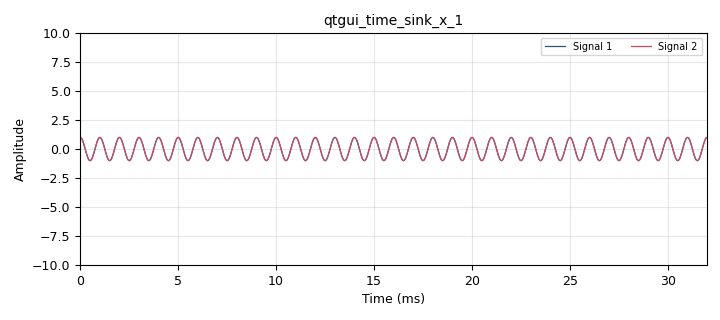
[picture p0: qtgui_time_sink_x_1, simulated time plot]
options:
  parameters:
    generate_options: qt_gui
    id: gain
    output_language: python
    title: Not titled yet
  states: {}

blocks:
- name: samp_rate
  id: variable
  parameters:
    value: '32000'
  states: {}
- name: variable_qtgui_range_0
  id: variable_qtgui_range
  parameters:
    min_len: '20'
    start: '1'
    step: '1'
    stop: '10'
    value: '1'
    widget: slider
  states: {}
- name: analog_sig_source_x_0
  id: analog_sig_source_x
  parameters:
    amp: '1'
    freq: '1000'
    offset: '0'
    phase: '0'
    samp_rate: samp_rate
    type: float
    waveform: analog.GR_COS_WAVE
  states: {}
- name: blocks_multiply_const_vxx_1
  id: blocks_multiply_const_vxx
  parameters:
    const: variable_qtgui_range_0
    type: float
  states: {}
- name: qtgui_time_sink_x_1
  id: qtgui_time_sink_x
  parameters:
    ctrlpanel: 'True'
    nconnections: '2'
    size: '1024'
    srate: samp_rate
    type: float
    ymax: '10'
    ymin: '-10'
    yunit: '"Counts"'
  states: {}

connections:
- [analog_sig_source_x_0, '0', blocks_multiply_const_vxx_1, '0']
- [analog_sig_source_x_0, '0', qtgui_time_sink_x_1, '0']
- [blocks_multiply_const_vxx_1, '0', qtgui_time_sink_x_1, '1']

metadata:
  file_format: 1
  grc_version: 3.10.5.1
